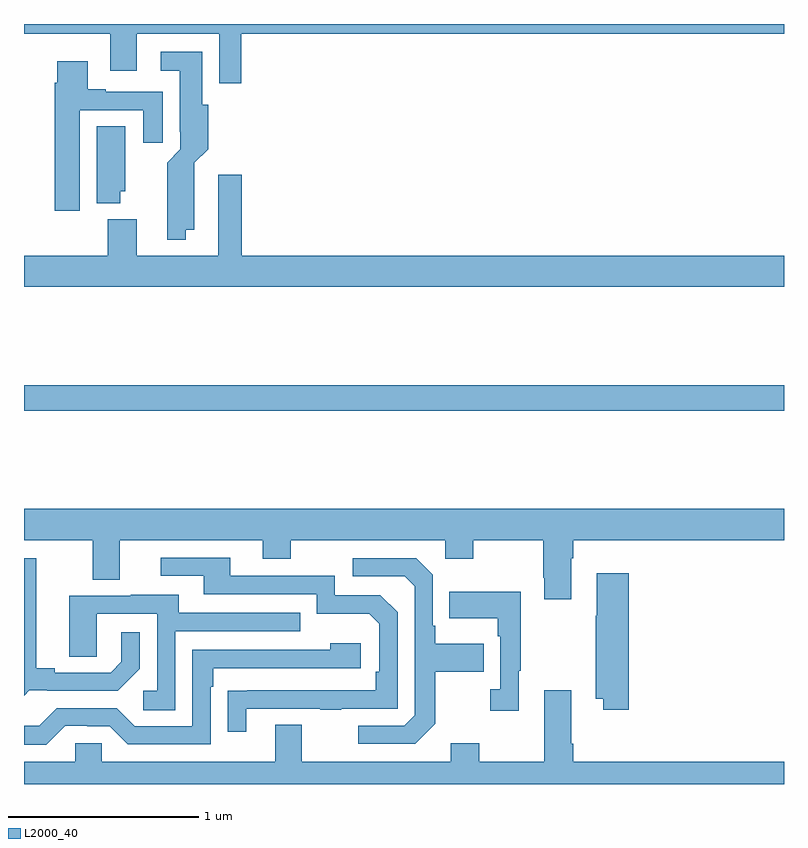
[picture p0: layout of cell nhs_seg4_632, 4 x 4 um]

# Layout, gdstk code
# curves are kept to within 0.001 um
import gdstk
lib = gdstk.Library(unit=1e-6, precision=1e-09)
def R(c, l, rs):  # rectangles x0, y0, x1, y1
    for r in rs: c.add(gdstk.rectangle(r[:2], r[2:], *l))
def P(c, l, *ps):  # polygons
    for p in ps: c.add(gdstk.Polygon(p, *l))
L2000_40 = (2000, 40)

nhs_seg4_632 = lib.new_cell('nhs_seg4_632')
R(nhs_seg4_632, L2000_40, [(143,766.864,147,767)])
P(nhs_seg4_632, L2000_40, [(143,768.848),(143.453,768.848),(143.453,768.654),(143.593,768.654),(143.593,768.848),(144.027,768.848),(144.027,768.588),(144.143,768.588),(144.143,768.848),(147,768.848),(147,768.9),(143,768.9)],
  [(143.851,767.816),(143.896,767.816),(143.897,768.17),(143.969,768.242),(143.969,768.474),(143.938,768.474),(143.938,768.754),(143.721,768.754),(143.721,768.653),(143.819,768.653),(143.819,768.334),(143.823,768.334),(143.823,768.24),(143.753,768.17),(143.754,767.765),(143.851,767.765)],
  [(143.293,768.447),(143.627,768.447),(143.627,768.276),(143.731,768.276),(143.731,768.543),(143.431,768.543),(143.431,768.556),(143.335,768.556),(143.335,768.703),(143.174,768.703),(143.174,768.59),(143.162,768.59),(143.162,767.916),(143.293,767.916)],
  [(143.506,768.021),(143.533,768.021),(143.533,768.362),(143.384,768.362),(143.384,767.957),(143.506,767.957)],
  [(147,767.68),(144.146,767.68),(144.146,768.106),(144.023,768.106),(144.023,767.68),(143.593,767.68),(143.593,767.872),(143.441,767.872),(143.441,767.68),(143,767.68),(143,767.516),(147,767.516)],
  [(145.879,766.088),(145.892,766.088),(145.892,766.184),(147,766.184),(147,766.348),(143,766.348),(143,766.184),(143.363,766.184),(143.363,765.976),(143.503,765.976),(143.503,766.184),(144.257,766.184),(144.257,766.085),(144.405,766.085),(144.405,766.184),(145.218,766.184),(145.218,766.085),(145.365,766.085),(145.365,766.184),(145.732,766.184),(145.732,765.985),(145.739,765.985),(145.739,765.873),(145.879,765.873)],
  [(144.169,765.297),(144.559,765.297),(144.559,765.292),(144.671,765.292),(144.671,765.297),(144.966,765.297),(144.966,765.804),(144.876,765.894),(144.636,765.894),(144.636,765.996),(144.085,765.996),(144.085,766.092),(143.721,766.092),(143.721,765.996),(143.945,765.996),(143.945,765.9),(144.54,765.9),(144.54,765.797),(144.817,765.797),(144.87,765.744),(144.87,765.49),(144.85,765.49),(144.85,765.393),(144.073,765.392),(144.073,765.174),(144.169,765.174)],
  [(145.165,765.217),(145.165,765.49),(145.421,765.49),(145.421,765.637),(145.165,765.637),(145.165,765.733),(145.152,765.733),(145.152,766.002),(145.065,766.089),(144.729,766.089),(144.729,765.993),(145.005,765.993),(145.056,765.942),(145.056,765.261),(145.002,765.207),(144.759,765.207),(144.759,765.111),(145.059,765.111)],
  [(143.028,765.393),(143.122,765.393),(143.122,765.39),(143.494,765.39),(143.61,765.506),(143.61,765.7),(143.513,765.7),(143.513,765.543),(143.456,765.486),(143.161,765.486),(143.161,765.509),(143.065,765.509),(143.065,766.089),(143,766.089),(143,765.365)],
  [(146.183,766.009),(146.015,766.009),(146.015,765.785),(146.008,765.785),(146.008,765.35),(146.048,765.35),(146.048,765.291),(146.183,765.291)],
  [(145.603,765.497),(145.615,765.497),(145.615,765.913),(145.237,765.913),(145.237,765.773),(145.494,765.773),(145.494,765.677),(145.506,765.677),(145.506,765.398),(145.455,765.398),(145.455,765.285),(145.603,765.285)],
  [(143.796,765.705),(144.455,765.705),(144.455,765.801),(143.815,765.801),(143.815,765.895),(143.561,765.895),(143.561,765.891),(143.237,765.891),(143.237,765.571),(143.382,765.571),(143.382,765.795),(143.7,765.795),(143.7,765.39),(143.628,765.39),(143.628,765.289),(143.796,765.289)],
  [(143.217,765.207),(143.333,765.207),(143.333,765.204),(143.451,765.204),(143.547,765.108),(143.982,765.108),(143.982,765.413),(143.995,765.413),(143.995,765.51),(144.772,765.51),(144.772,765.64),(144.611,765.64),(144.611,765.606),(143.886,765.606),(143.886,765.204),(143.583,765.204),(143.487,765.3),(143.172,765.3),(143.079,765.207),(143,765.207),(143,765.107),(143.117,765.107)],
  [(147,765.016),(145.892,765.016),(145.892,765.112),(145.879,765.112),(145.879,765.394),(145.739,765.394),(145.739,765.016),(145.395,765.016),(145.395,765.115),(145.247,765.115),(145.247,765.016),(144.463,765.016),(144.463,765.211),(144.323,765.211),(144.323,765.016),(143.409,765.016),(143.409,765.114),(143.271,765.114),(143.271,765.016),(143,765.016),(143,764.9),(147,764.9)])

lib.write_gds('nhs_seg4_632.gds')
